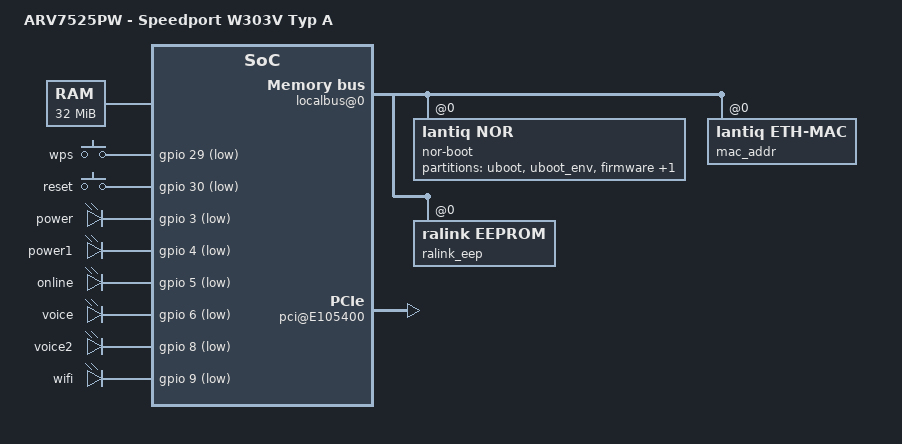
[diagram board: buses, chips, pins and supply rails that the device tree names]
/dts-v1/;

/include/ "danube.dtsi"

/ {
	model = "ARV7525PW - Speedport W303V Typ A";

	chosen {
		bootargs = "console=ttyLTQ0,115200 init=/etc/preinit";
	};

	memory@0 {
		reg = <0x0 0x2000000>;
	};

	sram@1F000000 {
		vmmc@107000 {
			status = "okay";
			gpios = <&gpio 31 0>;
		};
	};

	fpi@10000000 {
		localbus@0 {
			nor-boot@0 {
				compatible = "lantiq,nor";
				bank-width = <2>;
				reg = <0 0x0 0x2000000>;
				#address-cells = <1>;
				#size-cells = <1>;

				partition@0 {
					label = "uboot";
					reg = <0x00000 0x10000>;
					read-only;
				};

				partition@10000 {
					label = "uboot_env";
					reg = <0x10000 0x10000>;
					read-only;
				};

				partition@20000 {
					label = "firmware";
					reg = <0x20000 0x3d0000>;
				};

				partition@400000 {
					label = "board_config";
					reg = <0x3f0000 0x10000>;
					read-only;
				};
			};

			mac_addr {
				compatible = "lantiq,eth-mac";
				reg = <0 0x3f0016 0x6>;
				mac-increment = <2>;
			};

			ralink_eep {
				compatible = "ralink,eeprom";
				ralink,eeprom = "RT2860.eeprom";
				reg = <0 0x3f0410 0x110>;
			};
		};

		gpio: pinmux@E100B10 {
			pinctrl-names = "default";
			pinctrl-0 = <&state_default>;

			state_default: pinmux {
				exin {
					lantiq,groups = "exin1";
					lantiq,function = "exin";
				};
				pci {
					lantiq,groups = "gnt1", "req1";
					lantiq,function = "pci";
				};
			};
		};

		etop@E180000 {
			phy-mode = "mii";
		};

		pci@E105400 {
			status = "okay";
			interrupt-map = <0x7000 0 0 1 &icu0 135 1>;
			req-mask = <0x1>;
		};

	};

	gpio-keys-polled {
		compatible = "gpio-keys-polled";
		#address-cells = <1>;
		#size-cells = <0>;
		poll-interval = <100>;

		wps {
			label = "wps";
			gpios = <&gpio 29 1>;
			linux,code = <0x211>;
		};
		reset {
			label = "reset";
			gpios = <&gpio 30 1>;
			linux,code = <0x198>;
		};
	};

	gpio-leds {
		compatible = "gpio-leds";
		power {
			label = "power";
			gpios = <&gpio 3 1>;
		};
		power1 {
			label = "power1";
			gpios = <&gpio 4 1>;
		};
		online {
			label = "online";
			gpios = <&gpio 5 1>;
		};
		voice {
			label = "voice";
			gpios = <&gpio 6 1>;
		};
		voice2 {
			label = "voice2";
			gpios = <&gpio 8 1>;
		};
		wifi {
			label = "wifi";
			gpios = <&gpio 9 1>;
		};
	};
};
